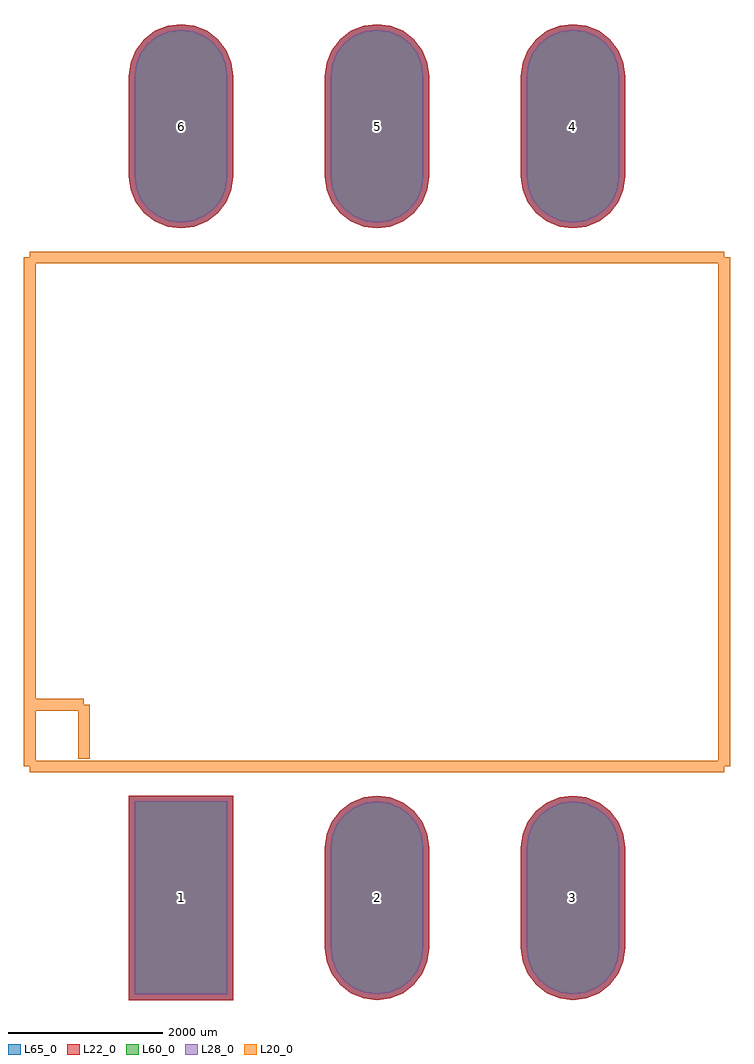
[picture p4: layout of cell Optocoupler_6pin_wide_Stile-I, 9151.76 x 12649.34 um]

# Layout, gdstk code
import gdstk
lib = gdstk.Library(unit=1e-6, precision=1e-09)
def R(c, l, rs):  # rectangles x0, y0, x1, y1
    for r in rs: c.add(gdstk.rectangle(r[:2], r[2:], *l))
def P(c, l, *ps):  # polygons
    for p in ps: c.add(gdstk.Polygon(p, *l))
L20_0 = (20, 0)
L22_0 = (22, 0)
L28_0 = (28, 0)
L60_0 = (60, 0)
L65_0 = (65, 0)

optocoupler_6pin_wide_st = lib.new_cell('Optocoupler_6pin_wide_Stile-I')
R(optocoupler_6pin_wide_st, L22_0, [(-3214.44,-6325.94,-1865.56,-3676.58)])
P(optocoupler_6pin_wide_st, L22_0, [(-2540,3674.04),(-2365.442,3697.021),(-2202.78,3764.398),(-2063.099,3871.579),(-1955.918,4011.26),(-1888.541,4173.922),(-1865.56,4348.48),(-1865.56,5648.96),(-1888.541,5823.518),(-1955.918,5986.18),(-2063.099,6125.861),(-2202.78,6233.042),(-2365.442,6300.419),(-2540,6323.4),(-2714.558,6300.419),(-2877.22,6233.042),(-3016.901,6125.861),(-3124.082,5986.18),(-3191.459,5823.518),(-3214.44,5648.96),(-3214.44,4348.48),(-3191.459,4173.922),(-3124.082,4011.26),(-3016.901,3871.579),(-2877.22,3764.398),(-2714.558,3697.021)],
  [(0,3674.04),(174.558,3697.021),(337.22,3764.398),(476.901,3871.579),(584.082,4011.26),(651.459,4173.922),(674.44,4348.48),(674.44,5648.96),(651.459,5823.518),(584.082,5986.18),(476.901,6125.861),(337.22,6233.042),(174.558,6300.419),(0,6323.4),(-174.558,6300.419),(-337.22,6233.042),(-476.901,6125.861),(-584.082,5986.18),(-651.459,5823.518),(-674.44,5648.96),(-674.44,4348.48),(-651.459,4173.922),(-584.082,4011.26),(-476.901,3871.579),(-337.22,3764.398),(-174.558,3697.021)],
  [(2540,3674.04),(2714.558,3697.021),(2877.22,3764.398),(3016.901,3871.579),(3124.082,4011.26),(3191.459,4173.922),(3214.44,4348.48),(3214.44,5648.96),(3191.459,5823.518),(3124.082,5986.18),(3016.901,6125.861),(2877.22,6233.042),(2714.558,6300.419),(2540,6323.4),(2365.442,6300.419),(2202.78,6233.042),(2063.099,6125.861),(1955.918,5986.18),(1888.541,5823.518),(1865.56,5648.96),(1865.56,4348.48),(1888.541,4173.922),(1955.918,4011.26),(2063.099,3871.579),(2202.78,3764.398),(2365.442,3697.021)],
  [(2540,-6325.94),(2714.558,-6302.959),(2877.22,-6235.582),(3016.901,-6128.401),(3124.082,-5988.72),(3191.459,-5826.058),(3214.44,-5651.5),(3214.44,-4351.02),(3191.459,-4176.462),(3124.082,-4013.8),(3016.901,-3874.119),(2877.22,-3766.938),(2714.558,-3699.561),(2540,-3676.58),(2365.442,-3699.561),(2202.78,-3766.938),(2063.099,-3874.119),(1955.918,-4013.8),(1888.541,-4176.462),(1865.56,-4351.02),(1865.56,-5651.5),(1888.541,-5826.058),(1955.918,-5988.72),(2063.099,-6128.401),(2202.78,-6235.582),(2365.442,-6302.959)],
  [(0,-6325.94),(174.558,-6302.959),(337.22,-6235.582),(476.901,-6128.401),(584.082,-5988.72),(651.459,-5826.058),(674.44,-5651.5),(674.44,-4351.02),(651.459,-4176.462),(584.082,-4013.8),(476.901,-3874.119),(337.22,-3766.938),(174.558,-3699.561),(0,-3676.58),(-174.558,-3699.561),(-337.22,-3766.938),(-476.901,-3874.119),(-584.082,-4013.8),(-651.459,-4176.462),(-674.44,-4351.02),(-674.44,-5651.5),(-651.459,-5826.058),(-584.082,-5988.72),(-476.901,-6128.401),(-337.22,-6235.582),(-174.558,-6302.959)])
R(optocoupler_6pin_wide_st, L28_0, [(-3139.44,-6250.94,-1940.56,-3751.58)])
P(optocoupler_6pin_wide_st, L28_0, [(-2540,3749.04),(-2384.854,3769.465),(-2240.28,3829.35),(-2116.132,3924.612),(-2020.87,4048.76),(-1960.985,4193.334),(-1940.56,4348.48),(-1940.56,5648.96),(-1960.985,5804.106),(-2020.87,5948.68),(-2116.132,6072.828),(-2240.28,6168.09),(-2384.854,6227.975),(-2540,6248.4),(-2695.146,6227.975),(-2839.72,6168.09),(-2963.868,6072.828),(-3059.13,5948.68),(-3119.015,5804.106),(-3139.44,5648.96),(-3139.44,4348.48),(-3119.015,4193.334),(-3059.13,4048.76),(-2963.868,3924.612),(-2839.72,3829.35),(-2695.146,3769.465)],
  [(0,3749.04),(155.146,3769.465),(299.72,3829.35),(423.868,3924.612),(519.13,4048.76),(579.015,4193.334),(599.44,4348.48),(599.44,5648.96),(579.015,5804.106),(519.13,5948.68),(423.868,6072.828),(299.72,6168.09),(155.146,6227.975),(0,6248.4),(-155.146,6227.975),(-299.72,6168.09),(-423.868,6072.828),(-519.13,5948.68),(-579.015,5804.106),(-599.44,5648.96),(-599.44,4348.48),(-579.015,4193.334),(-519.13,4048.76),(-423.868,3924.612),(-299.72,3829.35),(-155.146,3769.465)],
  [(2540,3749.04),(2695.146,3769.465),(2839.72,3829.35),(2963.868,3924.612),(3059.13,4048.76),(3119.015,4193.334),(3139.44,4348.48),(3139.44,5648.96),(3119.015,5804.106),(3059.13,5948.68),(2963.868,6072.828),(2839.72,6168.09),(2695.146,6227.975),(2540,6248.4),(2384.854,6227.975),(2240.28,6168.09),(2116.132,6072.828),(2020.87,5948.68),(1960.985,5804.106),(1940.56,5648.96),(1940.56,4348.48),(1960.985,4193.334),(2020.87,4048.76),(2116.132,3924.612),(2240.28,3829.35),(2384.854,3769.465)],
  [(2540,-6250.94),(2695.146,-6230.515),(2839.72,-6170.63),(2963.868,-6075.368),(3059.13,-5951.22),(3119.015,-5806.646),(3139.44,-5651.5),(3139.44,-4351.02),(3119.015,-4195.874),(3059.13,-4051.3),(2963.868,-3927.152),(2839.72,-3831.89),(2695.146,-3772.005),(2540,-3751.58),(2384.854,-3772.005),(2240.28,-3831.89),(2116.132,-3927.152),(2020.87,-4051.3),(1960.985,-4195.874),(1940.56,-4351.02),(1940.56,-5651.5),(1960.985,-5806.646),(2020.87,-5951.22),(2116.132,-6075.368),(2240.28,-6170.63),(2384.854,-6230.515)],
  [(0,-6250.94),(155.146,-6230.515),(299.72,-6170.63),(423.868,-6075.368),(519.13,-5951.22),(579.015,-5806.646),(599.44,-5651.5),(599.44,-4351.02),(579.015,-4195.874),(519.13,-4051.3),(423.868,-3927.152),(299.72,-3831.89),(155.146,-3772.005),(0,-3751.58),(-155.146,-3772.005),(-299.72,-3831.89),(-423.868,-3927.152),(-519.13,-4051.3),(-579.015,-4195.874),(-599.44,-4351.02),(-599.44,-5651.5),(-579.015,-5806.646),(-519.13,-5951.22),(-423.868,-6075.368),(-299.72,-6170.63),(-155.146,-6230.515)])
R(optocoupler_6pin_wide_st, L60_0, [(-3139.44,-6250.94,-1940.56,-3751.58)])
P(optocoupler_6pin_wide_st, L60_0, [(-2540,3749.04),(-2384.854,3769.465),(-2240.28,3829.35),(-2116.132,3924.612),(-2020.87,4048.76),(-1960.985,4193.334),(-1940.56,4348.48),(-1940.56,5648.96),(-1960.985,5804.106),(-2020.87,5948.68),(-2116.132,6072.828),(-2240.28,6168.09),(-2384.854,6227.975),(-2540,6248.4),(-2695.146,6227.975),(-2839.72,6168.09),(-2963.868,6072.828),(-3059.13,5948.68),(-3119.015,5804.106),(-3139.44,5648.96),(-3139.44,4348.48),(-3119.015,4193.334),(-3059.13,4048.76),(-2963.868,3924.612),(-2839.72,3829.35),(-2695.146,3769.465)],
  [(0,3749.04),(155.146,3769.465),(299.72,3829.35),(423.868,3924.612),(519.13,4048.76),(579.015,4193.334),(599.44,4348.48),(599.44,5648.96),(579.015,5804.106),(519.13,5948.68),(423.868,6072.828),(299.72,6168.09),(155.146,6227.975),(0,6248.4),(-155.146,6227.975),(-299.72,6168.09),(-423.868,6072.828),(-519.13,5948.68),(-579.015,5804.106),(-599.44,5648.96),(-599.44,4348.48),(-579.015,4193.334),(-519.13,4048.76),(-423.868,3924.612),(-299.72,3829.35),(-155.146,3769.465)],
  [(2540,3749.04),(2695.146,3769.465),(2839.72,3829.35),(2963.868,3924.612),(3059.13,4048.76),(3119.015,4193.334),(3139.44,4348.48),(3139.44,5648.96),(3119.015,5804.106),(3059.13,5948.68),(2963.868,6072.828),(2839.72,6168.09),(2695.146,6227.975),(2540,6248.4),(2384.854,6227.975),(2240.28,6168.09),(2116.132,6072.828),(2020.87,5948.68),(1960.985,5804.106),(1940.56,5648.96),(1940.56,4348.48),(1960.985,4193.334),(2020.87,4048.76),(2116.132,3924.612),(2240.28,3829.35),(2384.854,3769.465)],
  [(2540,-6250.94),(2695.146,-6230.515),(2839.72,-6170.63),(2963.868,-6075.368),(3059.13,-5951.22),(3119.015,-5806.646),(3139.44,-5651.5),(3139.44,-4351.02),(3119.015,-4195.874),(3059.13,-4051.3),(2963.868,-3927.152),(2839.72,-3831.89),(2695.146,-3772.005),(2540,-3751.58),(2384.854,-3772.005),(2240.28,-3831.89),(2116.132,-3927.152),(2020.87,-4051.3),(1960.985,-4195.874),(1940.56,-4351.02),(1940.56,-5651.5),(1960.985,-5806.646),(2020.87,-5951.22),(2116.132,-6075.368),(2240.28,-6170.63),(2384.854,-6230.515)],
  [(0,-6250.94),(155.146,-6230.515),(299.72,-6170.63),(423.868,-6075.368),(519.13,-5951.22),(579.015,-5806.646),(599.44,-5651.5),(599.44,-4351.02),(579.015,-4195.874),(519.13,-4051.3),(423.868,-3927.152),(299.72,-3831.89),(155.146,-3772.005),(0,-3751.58),(-155.146,-3772.005),(-299.72,-3831.89),(-423.868,-3927.152),(-519.13,-4051.3),(-579.015,-4195.874),(-599.44,-4351.02),(-599.44,-5651.5),(-579.015,-5806.646),(-519.13,-5951.22),(-423.868,-6075.368),(-299.72,-6170.63),(-155.146,-6230.515)])
R(optocoupler_6pin_wide_st, L65_0, [(-3214.44,-6325.94,-1865.56,-3676.58)])
P(optocoupler_6pin_wide_st, L65_0, [(-2540,3674.04),(-2365.442,3697.021),(-2202.78,3764.398),(-2063.099,3871.579),(-1955.918,4011.26),(-1888.541,4173.922),(-1865.56,4348.48),(-1865.56,5648.96),(-1888.541,5823.518),(-1955.918,5986.18),(-2063.099,6125.861),(-2202.78,6233.042),(-2365.442,6300.419),(-2540,6323.4),(-2714.558,6300.419),(-2877.22,6233.042),(-3016.901,6125.861),(-3124.082,5986.18),(-3191.459,5823.518),(-3214.44,5648.96),(-3214.44,4348.48),(-3191.459,4173.922),(-3124.082,4011.26),(-3016.901,3871.579),(-2877.22,3764.398),(-2714.558,3697.021)],
  [(0,3674.04),(174.558,3697.021),(337.22,3764.398),(476.901,3871.579),(584.082,4011.26),(651.459,4173.922),(674.44,4348.48),(674.44,5648.96),(651.459,5823.518),(584.082,5986.18),(476.901,6125.861),(337.22,6233.042),(174.558,6300.419),(0,6323.4),(-174.558,6300.419),(-337.22,6233.042),(-476.901,6125.861),(-584.082,5986.18),(-651.459,5823.518),(-674.44,5648.96),(-674.44,4348.48),(-651.459,4173.922),(-584.082,4011.26),(-476.901,3871.579),(-337.22,3764.398),(-174.558,3697.021)],
  [(2540,3674.04),(2714.558,3697.021),(2877.22,3764.398),(3016.901,3871.579),(3124.082,4011.26),(3191.459,4173.922),(3214.44,4348.48),(3214.44,5648.96),(3191.459,5823.518),(3124.082,5986.18),(3016.901,6125.861),(2877.22,6233.042),(2714.558,6300.419),(2540,6323.4),(2365.442,6300.419),(2202.78,6233.042),(2063.099,6125.861),(1955.918,5986.18),(1888.541,5823.518),(1865.56,5648.96),(1865.56,4348.48),(1888.541,4173.922),(1955.918,4011.26),(2063.099,3871.579),(2202.78,3764.398),(2365.442,3697.021)],
  [(2540,-6325.94),(2714.558,-6302.959),(2877.22,-6235.582),(3016.901,-6128.401),(3124.082,-5988.72),(3191.459,-5826.058),(3214.44,-5651.5),(3214.44,-4351.02),(3191.459,-4176.462),(3124.082,-4013.8),(3016.901,-3874.119),(2877.22,-3766.938),(2714.558,-3699.561),(2540,-3676.58),(2365.442,-3699.561),(2202.78,-3766.938),(2063.099,-3874.119),(1955.918,-4013.8),(1888.541,-4176.462),(1865.56,-4351.02),(1865.56,-5651.5),(1888.541,-5826.058),(1955.918,-5988.72),(2063.099,-6128.401),(2202.78,-6235.582),(2365.442,-6302.959)],
  [(0,-6325.94),(174.558,-6302.959),(337.22,-6235.582),(476.901,-6128.401),(584.082,-5988.72),(651.459,-5826.058),(674.44,-5651.5),(674.44,-4351.02),(651.459,-4176.462),(584.082,-4013.8),(476.901,-3874.119),(337.22,-3766.938),(174.558,-3699.561),(0,-3676.58),(-174.558,-3699.561),(-337.22,-3766.938),(-476.901,-3874.119),(-584.082,-4013.8),(-651.459,-4176.462),(-674.44,-4351.02),(-674.44,-5651.5),(-651.459,-5826.058),(-584.082,-5988.72),(-476.901,-6128.401),(-337.22,-6235.582),(-174.558,-6302.959)])
optocoupler_6pin_wide_st.add(gdstk.FlexPath([(-4500.88,-3299.46),(-4500.88,3299.46)], 149.998, ends="flush", simple_path=True, layer=20, datatype=0))  # L20_0
optocoupler_6pin_wide_st.add(gdstk.FlexPath([(4500.88,-3299.46),(-4500.88,-3299.46)], 149.998, ends="flush", simple_path=True, layer=20, datatype=0))  # L20_0
optocoupler_6pin_wide_st.add(gdstk.FlexPath([(4500.88,3299.46),(4500.88,-3299.46)], 149.998, ends="flush", simple_path=True, layer=20, datatype=0))  # L20_0
optocoupler_6pin_wide_st.add(gdstk.FlexPath([(-4500.88,3299.46),(4500.88,3299.46)], 149.998, ends="flush", simple_path=True, layer=20, datatype=0))  # L20_0
optocoupler_6pin_wide_st.add(gdstk.FlexPath([(-3799.84,-2499.36),(-3799.84,-3200.4)], 149.998, ends="flush", simple_path=True, layer=20, datatype=0))  # L20_0
optocoupler_6pin_wide_st.add(gdstk.FlexPath([(-4500.88,-2499.36),(-3799.84,-2499.36)], 149.998, ends="flush", simple_path=True, layer=20, datatype=0))  # L20_0
optocoupler_6pin_wide_st.add(gdstk.Label('6', (-2540,4998.72), layer=28, texttype=0))
optocoupler_6pin_wide_st.add(gdstk.Label('5', (0,4998.72), layer=28, texttype=0))
optocoupler_6pin_wide_st.add(gdstk.Label('4', (2540,4998.72), layer=28, texttype=0))
optocoupler_6pin_wide_st.add(gdstk.Label('3', (2540,-5001.26), layer=28, texttype=0))
optocoupler_6pin_wide_st.add(gdstk.Label('2', (0,-5001.26), layer=28, texttype=0))
optocoupler_6pin_wide_st.add(gdstk.Label('1', (-2540,-5001.26), layer=28, texttype=0))
optocoupler_6pin_wide_st.add(gdstk.Label('1', (-5080,-5080), layer=9, texttype=0))
optocoupler_6pin_wide_st.add(gdstk.Label('type', (0,-10160), layer=9, texttype=0))
optocoupler_6pin_wide_st.add(gdstk.Label('devicename', (0,10160), layer=9, texttype=0))

lib.write_gds('Optocoupler_6pin_wide_Stile-I.gds')
